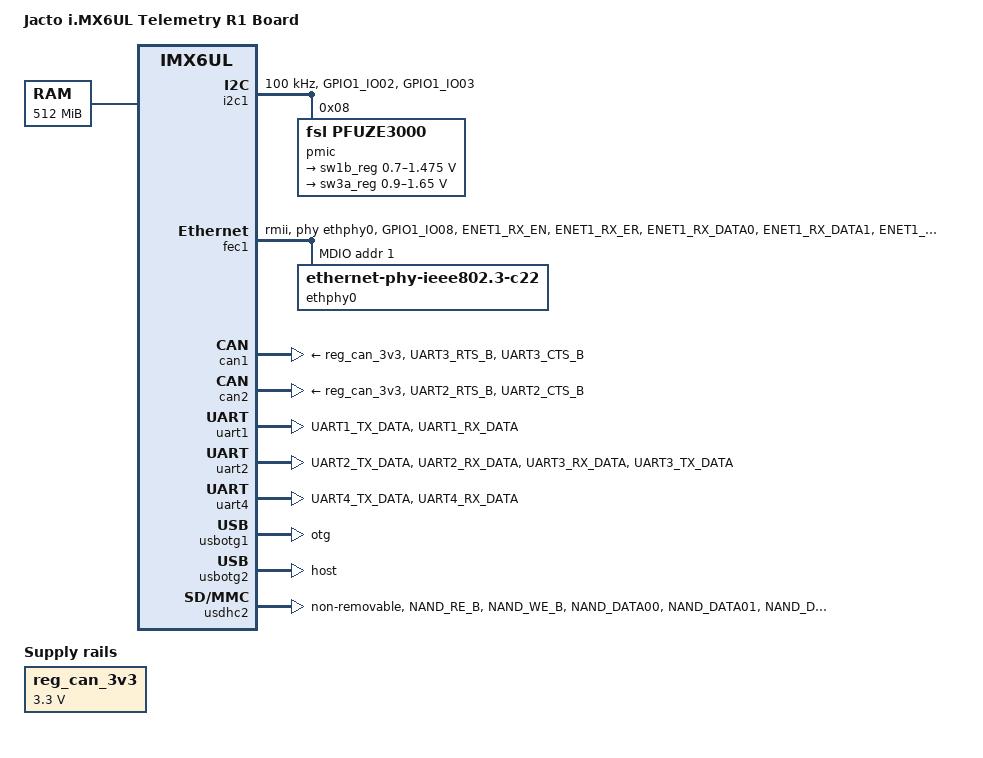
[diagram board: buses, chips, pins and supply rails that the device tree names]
// SPDX-License-Identifier: GPL-2.0
//
// Copyright (C) 2015 Freescale Semiconductor, Inc.

/dts-v1/;

#include "imx6ul.dtsi"

/ {

	model = "Jacto i.MX6UL Telemetry R1 Board";
	compatible = "jacto,imx6ul-telemetry-r1", "fsl,imx6ul";

	memory@80000000 {
		device_type = "memory";
		reg = <0x80000000 0x20000000>;
	};

	aliases {
		mmc0 = &usdhc2;
	};

	chosen {
		stdout-path = &uart1;
	};

	reg_can_3v3: regulator-can-3v3 {
		compatible = "regulator-fixed";
		regulator-name = "can-3v3";
		regulator-min-microvolt = <3300000>;
		regulator-max-microvolt = <3300000>;
	};
};

&i2c1 {
	clock-frequency = <100000>;
	pinctrl-names = "default";
	pinctrl-0 = <&pinctrl_i2c1>;
	status = "okay";

	pmic: pfuze3000@8 {
		compatible = "fsl,pfuze3000";
		reg = <0x08>;

		regulators {
			/* VDD_ARM_SOC_IN*/
			sw1b_reg: sw1b {
				regulator-min-microvolt = <700000>;
				regulator-max-microvolt = <1475000>;
				regulator-boot-on;
				regulator-always-on;
				regulator-ramp-delay = <6250>;
			};

			/* DRAM */
			sw3a_reg: sw3 {
				regulator-min-microvolt = <900000>;
				regulator-max-microvolt = <1650000>;
				regulator-boot-on;
				regulator-always-on;
			};

			vref_reg: vrefddr {
				regulator-boot-on;
				regulator-always-on;
			};
		};
	};
};

&fec1 {
	pinctrl-names = "default";
	pinctrl-0 = <&pinctrl_enet1>;
	phy-mode = "rmii";
	phy-handle = <&ethphy0>;
	phy-reset-gpios = <&gpio1 8 GPIO_ACTIVE_LOW>;
	phy-reset-duration = <10>;
	phy-reset-post-delay = <1>;
	status = "okay";

	mdio {
		#address-cells = <1>;
		#size-cells = <0>;

		ethphy0: ethernet-phy@1 {
			reg = <1>;
			compatible = "ethernet-phy-ieee802.3-c22";
		};
	};
};

&can1 {
	pinctrl-names = "default";
	pinctrl-0 = <&pinctrl_flexcan1>;
	xceiver-supply = <&reg_can_3v3>;
	status = "okay";
};

&can2 {
	pinctrl-names = "default";
	pinctrl-0 = <&pinctrl_flexcan2>;
	xceiver-supply = <&reg_can_3v3>;
	status = "okay";
};

&snvs_poweroff {
	status = "okay";
};

&uart1 {
	pinctrl-names = "default";
	pinctrl-0 = <&pinctrl_uart1>;
	status = "okay";
};

&uart2 {
	pinctrl-names = "default";
	pinctrl-0 = <&pinctrl_uart2>;
	uart-has-rtscts;
	status = "okay";
};

&uart4 {
	pinctrl-names = "default";
	pinctrl-0 = <&pinctrl_uart4>;
	status = "okay";
};

&usbotg1 {
	dr_mode = "otg";
	srp-disable;
	hnp-disable;
	adp-disable;
	status = "okay";
};

&usbotg2 {
	dr_mode = "host";
	disable-over-current;
	status = "okay";
};

&usbphy1 {
	fsl,tx-d-cal = <5>;
};

&usbphy2 {
	fsl,tx-d-cal = <5>;
};

&usdhc2 {
	pinctrl-names = "default";
	pinctrl-0 = <&pinctrl_usdhc2>;
	no-1-8-v;
	keep-power-in-suspend;
	wakeup-source;
	non-removable;
	status = "okay";
};

&wdog1 {
	pinctrl-names = "default";
	pinctrl-0 = <&pinctrl_wdog>;
	fsl,ext-reset-output;
};

&iomuxc {
	pinctrl-names = "default";

	pinctrl_enet1: enet1grp {
		fsl,pins = <
			/* KSZ8081 reset */
			MX6UL_PAD_GPIO1_IO08__GPIO1_IO08	0x130b0
			/* KSZ8081 pin strapping: CFG2: pull down */
			MX6UL_PAD_ENET1_RX_EN__ENET1_RX_EN	0x130b0
			/* KSZ8081 pin strapping: ISO: pull down */
			MX6UL_PAD_ENET1_RX_ER__ENET1_RX_ER	0x130b0
			MX6UL_PAD_ENET1_RX_DATA0__ENET1_RDATA00	0x1b0b0
			/* KSZ8081 pin strapping: PHYAD2: pull down */
			MX6UL_PAD_ENET1_RX_DATA1__ENET1_RDATA01	0x130b0
			MX6UL_PAD_ENET1_TX_EN__ENET1_TX_EN	0x1b0b0
			MX6UL_PAD_ENET1_TX_DATA0__ENET1_TDATA00	0x1b0b0
			MX6UL_PAD_ENET1_TX_DATA1__ENET1_TDATA01	0x1b0b0
			MX6UL_PAD_ENET1_TX_CLK__ENET1_REF_CLK1	0x4001b031
			MX6UL_PAD_GPIO1_IO06__ENET1_MDIO        0x1b0b0
			MX6UL_PAD_GPIO1_IO07__ENET1_MDC         0x1b0b0
		>;
	};

	pinctrl_flexcan1: flexcan1grp{
		fsl,pins = <
			MX6UL_PAD_UART3_RTS_B__FLEXCAN1_RX	0x1b020
			MX6UL_PAD_UART3_CTS_B__FLEXCAN1_TX	0x1b020
		>;
	};

	pinctrl_flexcan2: flexcan2grp{
		fsl,pins = <
			MX6UL_PAD_UART2_RTS_B__FLEXCAN2_RX	0x1b020
			MX6UL_PAD_UART2_CTS_B__FLEXCAN2_TX	0x1b020
		>;
	};

	pinctrl_i2c1: i2c1grp {
		fsl,pins = <
			MX6UL_PAD_GPIO1_IO02__I2C1_SCL		0x4001b8b0
			MX6UL_PAD_GPIO1_IO03__I2C1_SDA		0x4001b8b0
		>;
	};

	pinctrl_uart1: uart1grp {
		fsl,pins = <
			MX6UL_PAD_UART1_TX_DATA__UART1_DCE_TX	0x1b0b1
			MX6UL_PAD_UART1_RX_DATA__UART1_DCE_RX	0x1b0b1
		>;
	};

	pinctrl_uart2: uart2grp {
		fsl,pins = <
			MX6UL_PAD_UART2_TX_DATA__UART2_DCE_TX	0x1b0b1
			MX6UL_PAD_UART2_RX_DATA__UART2_DCE_RX	0x1b0b1
			MX6UL_PAD_UART3_RX_DATA__UART2_DCE_RTS	0x1b0b1
			MX6UL_PAD_UART3_TX_DATA__UART2_DCE_CTS	0x1b0b1
		>;
	};

	pinctrl_uart4: uart4grp {
		fsl,pins = <
			MX6UL_PAD_UART4_TX_DATA__UART4_DCE_TX	0x1b0b1
			MX6UL_PAD_UART4_RX_DATA__UART4_DCE_RX	0x1b0b1
		>;
	};

	pinctrl_usdhc2: usdhc2grp {
		fsl,pins = <
			MX6UL_PAD_NAND_RE_B__USDHC2_CLK     	0x17059
			MX6UL_PAD_NAND_WE_B__USDHC2_CMD		0x17059
			MX6UL_PAD_NAND_DATA00__USDHC2_DATA0	0x17059
			MX6UL_PAD_NAND_DATA01__USDHC2_DATA1	0x17059
			MX6UL_PAD_NAND_DATA02__USDHC2_DATA2	0x17059
			MX6UL_PAD_NAND_DATA03__USDHC2_DATA3	0x17059
			MX6UL_PAD_NAND_DATA04__USDHC2_DATA4	0x17059
			MX6UL_PAD_NAND_DATA05__USDHC2_DATA5	0x17059
			MX6UL_PAD_NAND_DATA06__USDHC2_DATA6	0x17059
			MX6UL_PAD_NAND_DATA07__USDHC2_DATA7	0x17059			
		>;
	};

	pinctrl_wdog: wdoggrp {
		fsl,pins = <
			MX6UL_PAD_LCD_RESET__WDOG1_WDOG_ANY    0x30b0
		>;
	};
};
